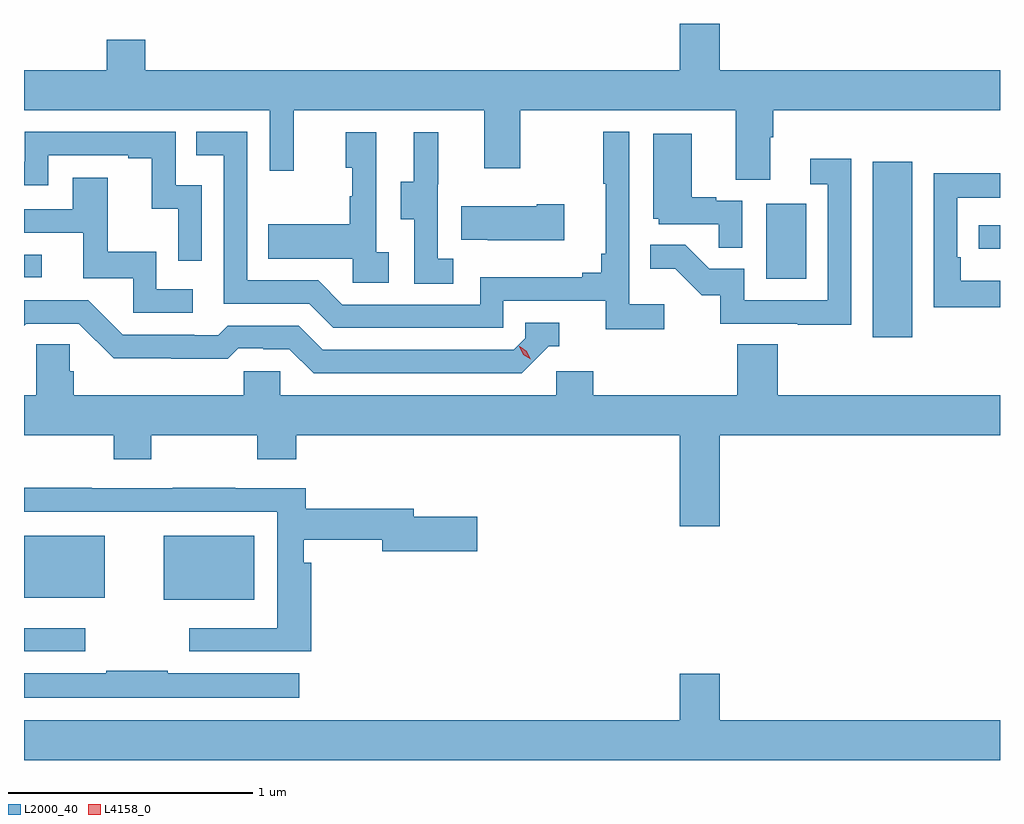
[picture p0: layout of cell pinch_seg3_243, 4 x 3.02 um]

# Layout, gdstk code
import gdstk
lib = gdstk.Library(unit=1e-6, precision=1e-09)
def R(c, l, rs):  # rectangles x0, y0, x1, y1
    for r in rs: c.add(gdstk.rectangle(r[:2], r[2:], *l))
def P(c, l, *ps):  # polygons
    for p in ps: c.add(gdstk.Polygon(p, *l))
L2000_40 = (2000, 40)
L4158_0 = (4158, 0)

pinch_seg3_243 = lib.new_cell('pinch_seg3_243')
R(pinch_seg3_243, L2000_40, [(893.589,737.325,893.839,737.421), (894.161,737.537,894.532,737.8), (893.589,737.546,893.92,737.8), (897.068,738.612,897.229,739.333), (896.63,738.852,896.794,739.159), (893.589,738.858,893.662,738.951), (897.501,738.975,897.589,739.071)])
P(pinch_seg3_243, L2000_40, [(896.647,739.432),(896.66,739.432),(896.66,739.544),(897.589,739.544),(897.589,739.708),(896.44,739.708),(896.44,739.897),(896.276,739.897),(896.276,739.708),(894.086,739.708),(894.086,739.832),(893.929,739.832),(893.929,739.708),(893.589,739.708),(893.589,739.544),(894.597,739.544),(894.597,739.296),(894.695,739.296),(894.695,739.544),(895.475,739.544),(895.475,739.305),(895.623,739.305),(895.623,739.544),(896.507,739.544),(896.507,739.258),(896.647,739.258)],
  [(896.212,738.748),(896.07,738.748),(896.07,739.456),(895.962,739.456),(895.962,739.243),(895.973,739.243),(895.973,738.955),(895.954,738.955),(895.954,738.878),(895.877,738.878),(895.877,738.859),(895.458,738.859),(895.458,738.747),(894.894,738.747),(894.795,738.846),(894.504,738.846),(894.504,739.455),(894.295,739.455),(894.295,739.359),(894.408,739.359),(894.408,738.75),(894.758,738.75),(894.857,738.651),(895.554,738.651),(895.554,738.762),(895.973,738.762),(895.973,738.646),(896.212,738.646)],
  [(894.318,739.236),(894.21,739.236),(894.21,739.455),(893.592,739.455),(893.592,739.332),(893.589,739.332),(893.589,739.236),(893.688,739.236),(893.688,739.359),(894.017,739.359),(894.017,739.347),(894.113,739.347),(894.113,739.139),(894.222,739.139),(894.222,738.927),(894.318,738.927)],
  [(895.084,738.962),(895.032,738.962),(895.032,739.453),(894.908,739.453),(894.908,739.308),(894.934,739.308),(894.934,739.19),(894.924,739.19),(894.924,739.075),(894.589,739.075),(894.589,738.935),(894.936,738.935),(894.936,738.837),(895.084,738.837)],
  [(895.348,738.935),(895.284,738.935),(895.284,739.239),(895.286,739.239),(895.286,739.453),(895.187,739.453),(895.187,739.251),(895.133,739.251),(895.133,739.096),(895.188,739.096),(895.188,738.832),(895.348,738.832)],
  [(896.532,739.173),(896.426,739.173),(896.426,739.186),(896.326,739.186),(896.326,739.447),(896.168,739.447),(896.168,739.098),(896.19,739.098),(896.19,739.077),(896.437,739.077),(896.437,738.979),(896.532,738.979)],
  [(896.979,739.345),(896.811,739.345),(896.811,739.239),(896.883,739.239),(896.883,738.765),(896.541,738.765),(896.541,738.894),(896.397,738.894),(896.299,738.992),(896.155,738.992),(896.155,738.893),(896.259,738.893),(896.366,738.786),(896.443,738.786),(896.443,738.669),(896.761,738.669),(896.761,738.664),(896.979,738.664)],
  [(897.589,738.844),(897.428,738.844),(897.428,738.94),(897.414,738.94),(897.414,739.185),(897.589,739.185),(897.589,739.286),(897.318,739.286),(897.318,738.735),(897.589,738.735)],
  [(894.28,738.81),(894.132,738.81),(894.132,738.964),(893.933,738.964),(893.933,739.267),(893.789,739.267),(893.789,739.137),(893.589,739.137),(893.589,739.041),(893.831,739.041),(893.831,738.855),(894.036,738.855),(894.036,738.714),(894.28,738.714)],
  [(895.804,739.158),(895.691,739.158),(895.691,739.15),(895.381,739.15),(895.381,739.013),(895.489,739.013),(895.489,739.01),(895.804,739.01)],
  [(895.74,738.576),(895.783,738.576),(895.783,738.672),(895.644,738.672),(895.644,738.609),(895.596,738.561),(894.813,738.561),(894.714,738.66),(894.425,738.66),(894.386,738.621),(894.287,738.621),(894.287,738.624),(893.994,738.624),(893.853,738.765),(893.589,738.765),(893.589,738.66),(893.598,738.669),(893.814,738.669),(893.956,738.527),(894.192,738.527),(894.192,738.525),(894.425,738.525),(894.467,738.567),(894.57,738.567),(894.57,738.564),(894.677,738.564),(894.776,738.465),(895.629,738.465)],
  [(896.44,738.212),(897.589,738.212),(897.589,738.376),(896.678,738.376),(896.678,738.584),(896.513,738.584),(896.513,738.376),(895.922,738.376),(895.922,738.474),(895.77,738.474),(895.77,738.376),(894.639,738.376),(894.639,738.474),(894.489,738.474),(894.489,738.376),(893.792,738.376),(893.792,738.474),(893.777,738.474),(893.777,738.584),(893.64,738.584),(893.64,738.376),(893.589,738.376),(893.589,738.212),(893.956,738.212),(893.956,738.113),(894.111,738.113),(894.111,738.212),(894.544,738.212),(894.544,738.113),(894.704,738.113),(894.704,738.212),(896.276,738.212),(896.276,737.838),(896.44,737.838)],
  [(894.767,737.689),(894.736,737.689),(894.736,737.782),(895.058,737.782),(895.058,737.735),(895.447,737.735),(895.447,737.877),(895.186,737.877),(895.186,737.911),(894.743,737.911),(894.743,737.994),(894.455,737.994),(894.455,737.996),(894.199,737.996),(894.199,737.994),(893.867,737.994),(893.867,737.996),(893.59,737.996),(893.59,737.994),(893.589,737.994),(893.589,737.898),(894.627,737.898),(894.627,737.421),(894.267,737.421),(894.267,737.325),(894.767,737.325)],
  [(894.718,737.236),(894.179,737.236),(894.179,737.246),(893.926,737.246),(893.926,737.236),(893.589,737.236),(893.589,737.135),(894.718,737.135)],
  [(897.589,737.044),(896.44,737.044),(896.44,737.233),(896.276,737.233),(896.276,737.044),(893.589,737.044),(893.589,736.88),(897.589,736.88)])
P(pinch_seg3_243, L4158_0, [(895.666,738.522),(895.635,738.542),(895.619,738.574),(895.619,738.575),(895.62,738.575),(895.65,738.555),(895.666,738.522),(895.666,738.522)])

lib.write_gds('pinch_seg3_243.gds')
